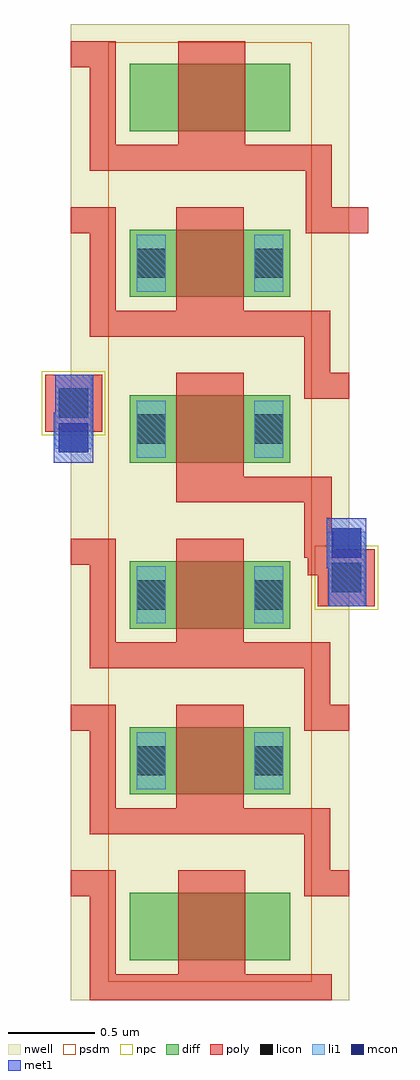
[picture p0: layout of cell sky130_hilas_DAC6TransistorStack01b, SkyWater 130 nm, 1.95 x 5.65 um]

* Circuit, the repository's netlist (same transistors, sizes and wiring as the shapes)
* Copyright 2020 The Hilas PDK Authors
* 
* This file is part of HILAS.
* 
* HILAS is free software: you can redistribute it and/or modify
* it under the terms of the GNU Lesser General Public License as published by
* the Free Software Foundation, version 3 of the License.
* 
* HILAS is distributed in the hope that it will be useful,
* but WITHOUT ANY WARRANTY; without even the implied warranty of
* MERCHANTABILITY or FITNESS FOR A PARTICULAR PURPOSE.  See the
* GNU Lesser General Public License for more details.
* 
* You should have received a copy of the GNU Lesser General Public License
* along with HILAS.  If not, see <https://www.gnu.org/licenses/>.
* 
* Licensed under the Lesser General Public License, Version 3.0 (the "License");
* you may not use this file except in compliance with the License.
* You may obtain a copy of the License at
* 
* https://www.gnu.org/licenses/lgpl-3.0.en.html
* 
* Unless required by applicable law or agreed to in writing, software
* distributed under the License is distributed on an "AS IS" BASIS,
* WITHOUT WARRANTIES OR CONDITIONS OF ANY KIND, either express or implied.
* See the License for the specific language governing permissions and
* limitations under the License.
* 
* SPDX-License-Identifier: LGPL-3.0
* 
* 

* NGSPICE file created from sky130_hilas_DAC6TransistorStack01b.ext - technology: sky130A

.subckt sky130_hilas_pFETdevice01d SUB w_n158_n156#
X0 a_42_n38# a_n36_n84# a_n90_n38# w_n158_n156# sky130_fd_pr__pfet_01v8 w=390000u l=390000u
.ends

.subckt sky130_hilas_pFETdevice01 SUB w_n158_n156#
X0 a_42_n38# a_n158_36# a_n90_n38# w_n158_n156# sky130_fd_pr__pfet_01v8 w=390000u l=390000u
.ends

.subckt sky130_hilas_pFETdevice01aa SUB w_n160_n156#
X0 a_42_n38# a_n160_36# a_n92_n38# w_n160_n156# sky130_fd_pr__pfet_01v8 w=390000u l=390000u
.ends

.subckt sky130_hilas_pFETdevice01a SUB w_n160_n84#
X0 a_42_n38# a_n160_36# a_n92_n38# w_n160_n84# sky130_fd_pr__pfet_01v8 w=390000u l=390000u
.ends


* Top level circuit sky130_hilas_DAC6TransistorStack01b

Xsky130_hilas_pFETdevice01d_0 SUB sky130_hilas_pFETdevice01a_0/w_n160_n84# sky130_hilas_pFETdevice01d
Xsky130_hilas_pFETdevice01_0 SUB sky130_hilas_pFETdevice01a_0/w_n160_n84# sky130_hilas_pFETdevice01
Xsky130_hilas_pFETdevice01_4 SUB sky130_hilas_pFETdevice01a_0/w_n160_n84# sky130_hilas_pFETdevice01
Xsky130_hilas_pFETdevice01_6 SUB sky130_hilas_pFETdevice01a_0/w_n160_n84# sky130_hilas_pFETdevice01
Xsky130_hilas_pFETdevice01aa_0 SUB sky130_hilas_pFETdevice01a_0/w_n160_n84# sky130_hilas_pFETdevice01aa
Xsky130_hilas_pFETdevice01a_0 SUB sky130_hilas_pFETdevice01a_0/w_n160_n84# sky130_hilas_pFETdevice01a
.end

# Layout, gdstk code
import gdstk
lib = gdstk.Library(unit=1e-6, precision=1e-09)
def R(c, l, rs):  # rectangles x0, y0, x1, y1
    for r in rs: c.add(gdstk.rectangle(r[:2], r[2:], *l))
def A(c, l, x, y, w, h, nx, ny, dx, dy):  # array of equal rectangles
    R(c, l, [(x+i*dx, y+j*dy, x+i*dx+w, y+j*dy+h) for i in range(nx) for j in range(ny)])
nwell = (64, 20)
diff = (65, 20)
poly = (66, 20)
licon = (66, 44)
li1 = (67, 20)
mcon = (67, 44)
met1 = (68, 20)
psdm = (94, 20)
npc = (95, 20)

sky130_hilas_pfetdevice0 = lib.new_cell('sky130_hilas_pFETdevice01')
R(sky130_hilas_pfetdevice0, nwell, [(-0.79,-0.78,0.82,0.43)])
R(sky130_hilas_pfetdevice0, diff, [(-0.45,-0.19,0.48,0.2)])
R(sky130_hilas_pfetdevice0, poly, [(0.56,-0.78,0.82,-0.63), (0.56,-0.63,0.71,-0.42), (-0.68,-0.42,0.71,-0.27), (-0.68,-0.27,-0.53,0.18), (-0.18,-0.27,0.21,0.33), (-0.79,0.18,-0.53,0.33)])
R(sky130_hilas_pfetdevice0, licon, [(-0.41,-0.08,-0.24,0.09), (0.27,-0.08,0.44,0.09)])
R(sky130_hilas_pfetdevice0, li1, [(-0.41,-0.16,-0.24,0.17), (0.27,-0.16,0.44,0.17)])
R(sky130_hilas_pfetdevice0, psdm, [(-0.575,-0.315,0.605,0.325)])

c_sky130_hilas_pfetdevice0 = lib.new_cell('sky130_hilas_pFETdevice01aa')
R(c_sky130_hilas_pfetdevice0, nwell, [(-0.8,-0.78,0.81,0.43)])
R(c_sky130_hilas_pfetdevice0, diff, [(-0.46,-0.19,0.47,0.2)])
R(c_sky130_hilas_pfetdevice0, poly, [(0.56,-0.78,0.92,-0.63), (0.56,-0.63,0.71,-0.42), (-0.69,-0.42,0.71,-0.27), (-0.69,-0.27,-0.54,0.18), (-0.18,-0.27,0.21,0.33), (-0.8,0.18,-0.54,0.33)])
R(c_sky130_hilas_pfetdevice0, psdm, [(-0.585,-0.315,0.595,0.325)])

c_sky130_hilas_pfetdevice0_ = lib.new_cell('sky130_hilas_pFETdevice01a')
R(c_sky130_hilas_pfetdevice0_, nwell, [(-0.8,-0.42,0.81,0.43)])
R(c_sky130_hilas_pfetdevice0_, diff, [(-0.46,-0.19,0.47,0.2)])
R(c_sky130_hilas_pfetdevice0_, poly, [(-0.69,-0.42,0.71,-0.27), (-0.69,-0.27,-0.54,0.18), (-0.18,-0.27,0.21,0.33), (-0.8,0.18,-0.54,0.33)])
R(c_sky130_hilas_pfetdevice0_, psdm, [(-0.585,-0.315,0.595,0.325)])

sky130_hilas_poly2m1 = lib.new_cell('sky130_hilas_poly2m1')
R(sky130_hilas_poly2m1, poly, [(-0.09,-0.08,0.24,0.25)])
R(sky130_hilas_poly2m1, licon, [(-0.01,0,0.16,0.17)])
R(sky130_hilas_poly2m1, li1, [(-0.01,-0.2,0.16,-0.18), (-0.03,-0.18,0.18,0.25)])
R(sky130_hilas_poly2m1, mcon, [(-0.01,-0.2,0.16,-0.03)])
R(sky130_hilas_poly2m1, met1, [(-0.04,-0.26,0.19,0.03), (-0.03,0.03,0.19,0.25)])
R(sky130_hilas_poly2m1, npc, [(-0.11,-0.1,0.26,0.27)])

c_sky130_hilas_pfetdevice0__ = lib.new_cell('sky130_hilas_pFETdevice01d')
R(c_sky130_hilas_pfetdevice0__, nwell, [(-0.79,-0.78,0.82,0.43)])
R(c_sky130_hilas_pfetdevice0__, diff, [(-0.45,-0.19,0.48,0.2)])
R(c_sky130_hilas_pfetdevice0__, poly, [(0.58,-0.84,0.64,-0.76), (0.58,-0.76,0.72,-0.74), (0.56,-0.74,0.72,-0.7), (0.56,-0.7,0.73,-0.59), (0.56,-0.59,0.72,-0.42), (-0.18,-0.42,0.72,-0.27), (-0.18,-0.27,0.21,0.33)])
R(c_sky130_hilas_pfetdevice0__, licon, [(-0.41,-0.08,-0.24,0.09), (0.27,-0.08,0.44,0.09)])
R(c_sky130_hilas_pfetdevice0__, li1, [(-0.41,-0.16,-0.24,0.17), (0.27,-0.16,0.44,0.17)])
R(c_sky130_hilas_pfetdevice0__, psdm, [(-0.575,-0.315,0.605,0.325)])
c_sky130_hilas_pfetdevice0__.add(gdstk.Reference(sky130_hilas_poly2m1, (-0.85,0.07)))
c_sky130_hilas_pfetdevice0__.add(gdstk.Reference(sky130_hilas_poly2m1, (0.73,-0.77), x_reflection=True))

sky130_hilas_dac6transis = lib.new_cell('sky130_hilas_DAC6TransistorStack01b')
A(sky130_hilas_dac6transis, psdm, 0.495, -0.995, 1.18, 0.32, 1, 5, 0, 0.96)
sky130_hilas_dac6transis.add(gdstk.Reference(sky130_hilas_pfetdevice0, (1.07,-0.36)))
sky130_hilas_dac6transis.add(gdstk.Reference(sky130_hilas_pfetdevice0, (1.07,0.6)))
sky130_hilas_dac6transis.add(gdstk.Reference(sky130_hilas_pfetdevice0, (1.07,2.52)))
sky130_hilas_dac6transis.add(gdstk.Reference(c_sky130_hilas_pfetdevice0, (1.08,3.48)))
sky130_hilas_dac6transis.add(gdstk.Reference(c_sky130_hilas_pfetdevice0_, (1.08,-1.32)))
sky130_hilas_dac6transis.add(gdstk.Reference(c_sky130_hilas_pfetdevice0__, (1.07,1.56)))

lib.write_gds('sky130_hilas_DAC6TransistorStack01b.gds')
